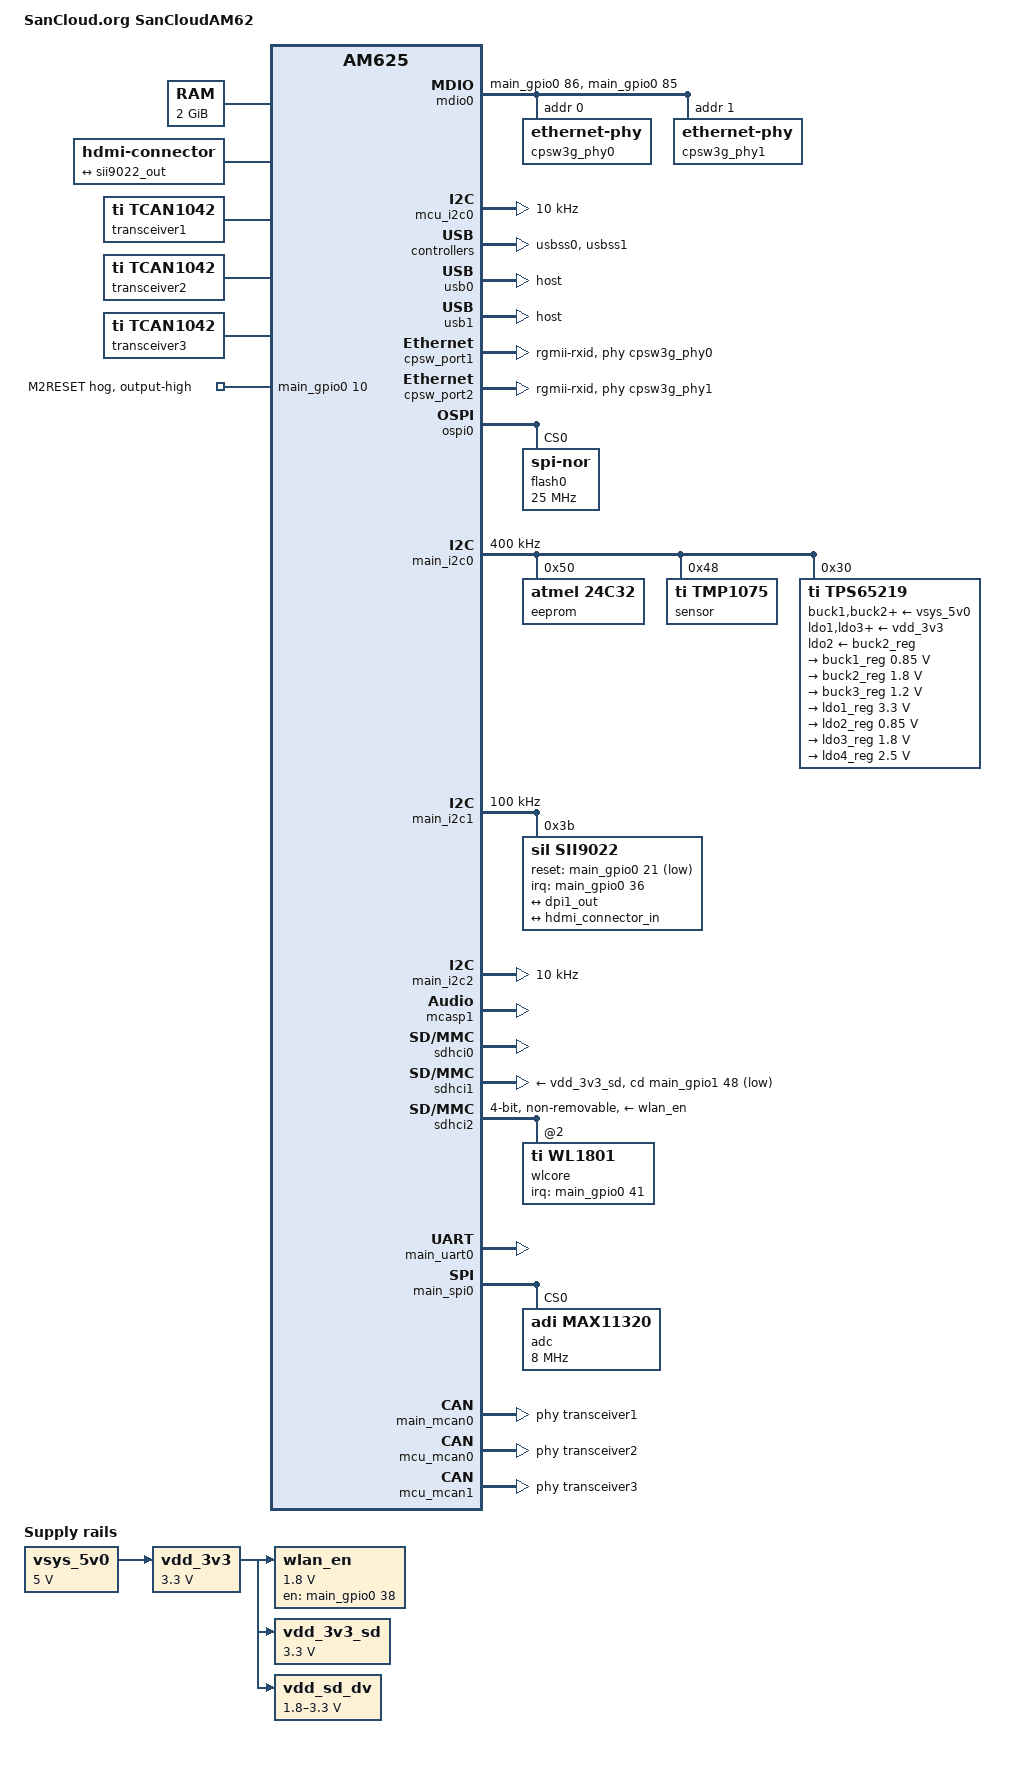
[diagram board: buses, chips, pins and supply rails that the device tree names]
// SPDX-License-Identifier: GPL-2.0
/*
 * https://beagleplay.org/
 *
 * Copyright (C) 2022-2023 Texas Instruments Incorporated - https://www.ti.com/
 * Copyright (C) 2022-2023 Robert Nelson, BeagleBoard.org Foundation
 */
 
/dts-v1/;
 
#include <dt-bindings/leds/common.h>
#include <dt-bindings/gpio/gpio.h>
#include <dt-bindings/input/input.h>
#include <dt-bindings/net/ti-dp83867.h>
#include "k3-am625.dtsi"
#include "k3-am625-sk-binman.dtsi"
 
/ {
    compatible = "sancloud,am625-sancloud", "ti,am625";
    model = "SanCloud.org SanCloudAM62";
 
    aliases {
        ethernet0 = &cpsw_port1;
        ethernet1 = &cpsw_port2;
        gpio0 = &main_gpio0;
        gpio1 = &main_gpio1;
        gpio2 = &mcu_gpio0;
        i2c0 = &main_i2c0;
        i2c1 = &main_i2c1;
        i2c2 = &main_i2c2;
        i2c3 = &main_i2c3;
        // i2c4 = &wkup_i2c0;
        // i2c5 = &mcu_i2c0;
        mdio-gpio0 = &mdio0;
        mmc0 = &sdhci0;
        mmc1 = &sdhci1;
        mmc2 = &sdhci2;
        rtc1 = &wkup_rtc0;
        serial0 = &wkup_uart0;
        serial1 = &mcu_uart0;
        serial2 = &main_uart0;
        serial3 = &main_uart5;
        serial4 = &main_uart6;
        spi0 = &ospi0;
        spi1 = &main_spi0;
        spi2 = &main_spi2;
        usb0 = &usb0;
        usb1 = &usb1;
    };
 
    chosen {
        stdout-path = "serial2:115200n8";
        base_dtb = "k3-am625-sancloud.dts";
        base_dtb_timestamp = __TIMESTAMP__;
    };
 
    memory@80000000 {
        bootph-pre-ram;
        device_type = "memory";
        /* 2G RAM */
        reg = <0x00000000 0x80000000 0x00000000 0x80000000>;
    };
 
    reserved-memory {
        #address-cells = <2>;
        #size-cells = <2>;
        ranges;
 
        rtos_ipc_memory_region: ipc-memories@9c800000 {
            compatible = "shared-dma-pool";
            reg = <0x00 0x9c800000 0x00 0x00300000>;
            no-map;
        };
 
        mcu_m4fss_dma_memory_region: m4f-dma-memory@9cb00000 {
            compatible = "shared-dma-pool";
            reg = <0x00 0x9cb00000 0x00 0x100000>;
            no-map;
        };
 
        mcu_m4fss_memory_region: m4f-memory@9cc00000 {
            compatible = "shared-dma-pool";
            reg = <0x00 0x9cc00000 0x00 0xe00000>;
            no-map;
        };
 
        wkup_r5fss0_core0_dma_memory_region: r5f-dma-memory@9da00000 {
            compatible = "shared-dma-pool";
            reg = <0x00 0x9da00000 0x00 0x00100000>;
            no-map;
        };
 
        wkup_r5fss0_core0_memory_region: r5f-memory@9db00000 {
            compatible = "shared-dma-pool";
            reg = <0x00 0x9db00000 0x00 0x00c00000>;
            no-map;
        };
 
        lpm_ctx_ddr: lpm-memory@9e700000 {
            reg = <0x00 0x9e700000 0x00 0x80000>;
            alignment = <0x1000>;
        };
 
        secure_tfa_ddr: tfa@9e780000 {
            reg = <0x00 0x9e780000 0x00 0x80000>;
            alignment = <0x1000>;
            no-map;
        };
 
        secure_ddr: optee@9e800000 {
            reg = <0x00 0x9e800000 0x00 0x01800000>; /* for OP-TEE */
            alignment = <0x1000>;
            no-map;
        };
    };
 
    vsys_5v0: regulator-1 {
        bootph-all;
        compatible = "regulator-fixed";
        regulator-name = "vsys_5v0";
        regulator-min-microvolt = <5000000>;
        regulator-max-microvolt = <5000000>;
        regulator-always-on;
        regulator-boot-on;
    };
 
    vdd_3v3: regulator-2 {
        /* output of TLV62595DMQR-U12 */
        bootph-all;
        compatible = "regulator-fixed";
        regulator-name = "vdd_3v3";
        regulator-min-microvolt = <3300000>;
        regulator-max-microvolt = <3300000>;
        vin-supply = <&vsys_5v0>;
        regulator-always-on;
        regulator-boot-on;
    };
 
    wlan_en: regulator-3 {
        /* OUTPUT of SN74AVC2T244DQMR */
        compatible = "regulator-fixed";
        regulator-name = "wlan_en";
        regulator-min-microvolt = <1800000>;
        regulator-max-microvolt = <1800000>;
        enable-active-high;
        regulator-always-on;
        /* regulator-off-in-suspend; */
        vin-supply = <&vdd_3v3>;
        gpio = <&main_gpio0 38 GPIO_ACTIVE_HIGH>;
        pinctrl-names = "default";
        pinctrl-0 = <&wifi_en_pins_default>;
    };
 
    vdd_3v3_sd: regulator-4 {
        bootph-all;
        compatible = "regulator-fixed";
        regulator-name = "vdd_3v3_sd";
        regulator-min-microvolt = <3300000>;
        regulator-max-microvolt = <3300000>;
        regulator-always-on;
        vin-supply = <&vdd_3v3>;
    };
 
    vdd_sd_dv: regulator-5 {
        bootph-all;
        compatible = "regulator-gpio";
        regulator-name = "sd_hs200_switch";
        pinctrl-names = "default";
        pinctrl-0 = <&vdd_sd_dv_pins_default>;
        regulator-min-microvolt = <1800000>;
        regulator-max-microvolt = <3300000>;
        regulator-boot-on;
        vin-supply = <&vdd_3v3>;
        gpios = <&main_gpio1 49 GPIO_ACTIVE_HIGH>;
        states = <1800000 0x0>,
             <3300000 0x1>;
    };
 
    hdmi: connector {
        compatible = "hdmi-connector";
        label = "hdmi";
        type = "a";
        port {
            hdmi_connector_in: endpoint {
                remote-endpoint = <&sii9022_out>;
            };
        };
    };
 
    mdio0: bitbang-mdio {
        compatible = "virtual,mdio-gpio";
        pinctrl-names = "default";
        pinctrl-0 = <&mdio0_pins_default>;
        gpios = <&main_gpio0 86 GPIO_ACTIVE_HIGH>, /* MDC */
            <&main_gpio0 85 GPIO_ACTIVE_HIGH>; /* MDIO */
        #address-cells = <1>;
        #size-cells = <0>;
 
        cpsw3g_phy0: ethernet-phy@0 {
            reg = <0>;
            ti,rx-internal-delay = <DP83867_RGMIIDCTL_2_00_NS>;
            ti,fifo-depth = <DP83867_PHYCR_FIFO_DEPTH_4_B_NIB>;
            ti,min-output-impedance;
        };
 
        cpsw3g_phy1: ethernet-phy@1 {
            reg = <1>;
            ti,rx-internal-delay = <DP83867_RGMIIDCTL_2_00_NS>;
            ti,fifo-depth = <DP83867_PHYCR_FIFO_DEPTH_4_B_NIB>;
            ti,min-output-impedance;
        };
    };
 
    hdmi_mstrclk: hdmi-mstrclk {
        compatible = "fixed-clock";
        #clock-cells = <0>;
        clock-frequency = <12288000>;
    };    
 
 
    transceiver1: can-phy0 {
        compatible = "ti,tcan1042";
        #phy-cells = <0>;
        max-bitrate = <5000000>;
    };
 
    transceiver2: can-phy1 {
        compatible = "ti,tcan1042";
        #phy-cells = <0>;
        max-bitrate = <5000000>;
    };
 
    transceiver3: can-phy2 {
        compatible = "ti,tcan1042";
        #phy-cells = <0>;
        max-bitrate = <5000000>;
    };
};
 
/*
 * CPU configuration
 * Disable core2 and core3 for dual core devices
 * Disable Real Time Interrupt for core2 and core3 also
 */
 
&cluster0 {
    /delete-node/ core2;
    /delete-node/ core3;
};
 
 
&main_rti2 {
    status = "disabled";
};
 
 
&main_rti3 {
    status = "disabled";
};
 
/*
 *
 */
 
&main_pmx0 {
    hdmi_pins_default: hdmi-pins-default {
        pinctrl-single,pins = <
            AM62X_IOPAD(0x0100, PIN_OUTPUT, 0) /* (AC25) VOUT0_VSYNC */
            AM62X_IOPAD(0x00f8, PIN_OUTPUT, 0) /* (AB24) VOUT0_HSYNC */
            AM62X_IOPAD(0x0104, PIN_OUTPUT, 0) /* (AC24) VOUT0_PCLK */
            AM62X_IOPAD(0x00fc, PIN_OUTPUT, 0) /* (Y20) VOUT0_DE */
            /* BLUE */
            AM62X_IOPAD(0x00b8, PIN_OUTPUT, 0) /* (U22) VOUT0_DATA0 */
            AM62X_IOPAD(0x00bc, PIN_OUTPUT, 0) /* (V24) VOUT0_DATA1 */
            AM62X_IOPAD(0x00c0, PIN_OUTPUT, 0) /* (W25) VOUT0_DATA2 */
            AM62X_IOPAD(0x00c4, PIN_OUTPUT, 0) /* (W24) VOUT0_DATA3 */
            AM62X_IOPAD(0x00c8, PIN_OUTPUT, 0) /* (Y25) VOUT0_DATA4 */
            AM62X_IOPAD(0x00cc, PIN_OUTPUT, 0) /* (Y24) VOUT0_DATA5 */
            AM62X_IOPAD(0x00d0, PIN_OUTPUT, 0) /* (Y23) VOUT0_DATA6 */
            AM62X_IOPAD(0x00d4, PIN_OUTPUT, 0) /* (AA25) VOUT0_DATA7 */
            /* GREEN */
            AM62X_IOPAD(0x00d8, PIN_OUTPUT, 0) /* (V21) VOUT0_DATA8 */
            AM62X_IOPAD(0x00dc, PIN_OUTPUT, 0) /* (W21) VOUT0_DATA9 */
            AM62X_IOPAD(0x00e0, PIN_OUTPUT, 0) /* (V20) VOUT0_DATA10 */
            AM62X_IOPAD(0x00e4, PIN_OUTPUT, 0) /* (AA23) VOUT0_DATA11 */
            AM62X_IOPAD(0x00e8, PIN_OUTPUT, 0) /* (AB25) VOUT0_DATA12 */
            AM62X_IOPAD(0x00ec, PIN_OUTPUT, 0) /* (AA24) VOUT0_DATA13 */
            AM62X_IOPAD(0x00f0, PIN_OUTPUT, 0) /* (Y22) VOUT0_DATA14 */
            AM62X_IOPAD(0x00f4, PIN_OUTPUT, 0) /* (AA21) VOUT0_DATA15 */
            /*RED*/
            AM62X_IOPAD(0x005c, PIN_OUTPUT, 1) /* (R24) GPMC0_AD8.VOUT0_DATA16 */
            AM62X_IOPAD(0x0060, PIN_OUTPUT, 1) /* (R25) GPMC0_AD9.VOUT0_DATA17 */
            AM62X_IOPAD(0x0064, PIN_OUTPUT, 1) /* (T25) GPMC0_AD10.VOUT0_DATA18 */
            AM62X_IOPAD(0x0068, PIN_OUTPUT, 1) /* (R21) GPMC0_AD11.VOUT0_DATA19 */
            AM62X_IOPAD(0x006c, PIN_OUTPUT, 1) /* (T22) GPMC0_AD12.VOUT0_DATA20 */
            AM62X_IOPAD(0x0070, PIN_OUTPUT, 1) /* (T24) GPMC0_AD13.VOUT0_DATA21 */
            AM62X_IOPAD(0x0074, PIN_OUTPUT, 1) /* (U25) GPMC0_AD14.VOUT0_DATA22 */
            AM62X_IOPAD(0x0078, PIN_OUTPUT, 1) /* (U24) GPMC0_AD15.VOUT0_DATA23 */
        >;
    };
 
    main_mcasp1_pins_default: main-mcasp1-pins-default {
        pinctrl-single,pins = <
            AM62X_IOPAD(0x0090, PIN_INPUT, 2) /* (M24) GPMC0_BE0N_CLE.MCASP1_ACLKX */
            AM62X_IOPAD(0x0098, PIN_INPUT, 2) /* (U23) GPMC0_WAIT0.MCASP1_AFSX */
            AM62X_IOPAD(0x008c, PIN_OUTPUT, 2) /* (L25) GPMC0_WEN.MCASP1_AXR0 */
            AM62X_IOPAD(0x0084, PIN_INPUT, 2) /* (L23) GPMC0_ADVN_ALE.MCASP1_AXR2 */
        >;
    };
 
    gpio0_pins_default: gpio0-pins-default {
        pinctrl-single,pins = <
            AM62X_IOPAD(0x001c, PIN_OUTPUT, 7) /* (J23) OSPI0_D4.GPIO0_7 */
            AM62X_IOPAD(0x0020, PIN_OUTPUT, 7) /* (J25) OSPI0_D5.GPIO0_8 */
            AM62X_IOPAD(0x0024, PIN_OUTPUT, 7) /* (H25) OSPI0_D7.GPIO0_9 */
            AM62X_IOPAD(0x0028, PIN_OUTPUT, 7) /* (J22) OSPI0_D7.GPIO0_10 */
            AM62X_IOPAD(0x0054, PIN_OUTPUT, 7) /* (P21) GPMC0_AD6.GPIO0_21 */ /* HDMI_RSTn */
            AM62X_IOPAD(0x0094, PIN_INPUT, 7) /* (N20) GPMC0_BE1n.GPIO0_36 */ /* HDMI_IRQ */
        >;
    };
 
    gpio1_pins_default: gpio1-pins-default {
        pinctrl-single,pins = <
            AM62X_IOPAD(0x1a0, PIN_OUTPUT_PULLDOWN, 7)  /* (E18) MCASP0_AXR0.GPIO1_10*/
            AM62X_IOPAD(0x19c, PIN_OUTPUT_PULLDOWN, 7)  /* (B18) MCASP0_AXR1.GPIO1_9*/
            AM62X_IOPAD(0x1a8, PIN_OUTPUT_PULLDOWN, 7)  /* (D20) MCASP0_AFSX.GPIO1_12*/
        >;
    };
 
    vdd_sd_dv_pins_default: vdd-sd-pins-default {
        pinctrl-single,pins = <
            AM62X_IOPAD(0x0244, PIN_OUTPUT, 7) /* (C17) MMC1_SDWP.GPIO1_49 */
        >;
    };
 
    local_i2c0_pins_default: local-i2c0-pins-default {
        pinctrl-single,pins = <
            AM62X_IOPAD(0x01e0, PIN_INPUT_PULLUP, 0) /* (B16) I2C0_SCL */
            AM62X_IOPAD(0x01e4, PIN_INPUT_PULLUP, 0) /* (A16) I2C0_SDA */
        >;
    };
 
    local_i2c1_pins_default: local-i2c1-pins-default {
        pinctrl-single,pins = <
            AM62X_IOPAD(0x01e8, PIN_INPUT_PULLUP, 0) /* (B17) I2C1_SCL */
            AM62X_IOPAD(0x01ec, PIN_INPUT_PULLUP, 0) /* (A17) I2C1_SDA */
        >;
    };
 
    local_i2c2_pins_default: local-i2c2-pins-default {
        pinctrl-single,pins = <
            AM62X_IOPAD(0x00b0, PIN_INPUT_PULLUP, 1) /* (K22) GPMC0_CSn2.I2C2_SCL */
            AM62X_IOPAD(0x00b4, PIN_INPUT_PULLUP, 1) /* (K24) GPMC0_CSn3.I2C2_SDA */
        >;
    };
 
    mdio0_pins_default: mdio0-pins-default {
        pinctrl-single,pins = <
            AM62X_IOPAD(0x0160, PIN_OUTPUT, 7) /* (AD24) MDIO0_MDC.GPIO0_86 */
            AM62X_IOPAD(0x015c, PIN_INPUT, 7) /* (AB22) MDIO0_MDIO.GPIO0_85 */
        >;
    };
 
    rgmii1_pins_default: rgmii1-pins-default {
        pinctrl-single,pins = <
            AM62X_IOPAD(0x014c, PIN_INPUT, 0) /* (AB17) RGMII1_RD0 */
            AM62X_IOPAD(0x0150, PIN_INPUT, 0) /* (AC17) RGMII1_RD1 */
            AM62X_IOPAD(0x0154, PIN_INPUT, 0) /* (AB16) RGMII1_RD2 */
            AM62X_IOPAD(0x0158, PIN_INPUT, 0) /* (AA15) RGMII1_RD3 */
            AM62X_IOPAD(0x0148, PIN_INPUT, 0) /* (AD17) RGMII1_RXC */
            AM62X_IOPAD(0x0144, PIN_INPUT, 0) /* (AE17) RGMII1_RX_CTL */
            AM62X_IOPAD(0x0134, PIN_OUTPUT, 0) /* (AE20) RGMII1_TD0 */
            AM62X_IOPAD(0x0138, PIN_OUTPUT, 0) /* (AD20) RGMII1_TD1 */
            AM62X_IOPAD(0x013c, PIN_OUTPUT, 0) /* (AE18) RGMII1_TD2 */
            AM62X_IOPAD(0x0140, PIN_OUTPUT, 0) /* (AD18) RGMII1_TD3 */
            AM62X_IOPAD(0x0130, PIN_OUTPUT, 0) /* (AE19) RGMII1_TXC */
            AM62X_IOPAD(0x012c, PIN_OUTPUT, 0) /* (AD19) RGMII1_TX_CTL */
            AM62X_IOPAD(0x00a4, PIN_OUTPUT, 7) /* (M22) GPMC0_DIR.GPIO0_40 */
            AM62X_IOPAD(0x00ac, PIN_INPUT_PULLUP, 7) /* (L21) GPMC0_CSn1.GPIO0_42 */
 
        >;
    };
 
    rgmii2_pins_default: rgmii2-pins-default {
        pinctrl-single,pins = <
            AM62X_IOPAD(0x184, PIN_INPUT, 0) /* (AE23) RGMII2_RD0 */
            AM62X_IOPAD(0x188, PIN_INPUT, 0) /* (AB20) RGMII2_RD1 */
            AM62X_IOPAD(0x18c, PIN_INPUT, 0) /* (AC21) RGMII2_RD2 */
            AM62X_IOPAD(0x190, PIN_INPUT, 0) /* (AE22) RGMII2_RD3 */
            AM62X_IOPAD(0x180, PIN_INPUT, 0) /* (AD23) RGMII2_RXC */
            AM62X_IOPAD(0x17c, PIN_INPUT, 0) /* (AD22) RGMII2_RX_CTL */
            AM62X_IOPAD(0x16c, PIN_OUTPUT, 0) /* (Y18) RGMII2_TD0 */
            AM62X_IOPAD(0x170, PIN_OUTPUT, 0) /* (AA18) RGMII2_TD1 */
            AM62X_IOPAD(0x174, PIN_OUTPUT, 0) /* (AD21) RGMII2_TD2 */
            AM62X_IOPAD(0x178, PIN_OUTPUT, 0) /* (AC20) RGMII2_TD3 */
            AM62X_IOPAD(0x168, PIN_OUTPUT, 0) /* (AE21) RGMII2_TXC */
            AM62X_IOPAD(0x164, PIN_OUTPUT, 0) /* (AA19) RGMII2_TX_CTL */
            AM62X_IOPAD(0x00a0, PIN_OUTPUT, 7) /* (K25) GPMC0_DIR.GPIO0_39 */
            AM62X_IOPAD(0x01b8, PIN_INPUT_PULLUP, 7) /* (C13) SPI0_CS1.GPIO1_16 */
        >;
    };
 
    ospi0_pins_default: ospi0-pins-default {
        pinctrl-single,pins = <
            AM62X_IOPAD(0x000, PIN_OUTPUT, 0) /* (H24) OSPI0_CLK */
            AM62X_IOPAD(0x02c, PIN_OUTPUT, 0) /* (F23) OSPI0_CSn0 */
            AM62X_IOPAD(0x00c, PIN_INPUT, 0) /* (E25) OSPI0_D0 */
            AM62X_IOPAD(0x010, PIN_INPUT, 0) /* (G24) OSPI0_D1 */
            AM62X_IOPAD(0x014, PIN_INPUT, 0) /* (F25) OSPI0_D2 */
            AM62X_IOPAD(0x018, PIN_INPUT, 0) /* (F24) OSPI0_D3 */
           
            // AM62X_IOPAD(0x01c, PIN_INPUT, 0) /* (J23) OSPI0_D4 */
            // AM62X_IOPAD(0x020, PIN_INPUT, 0) /* (J25) OSPI0_D5 */
            // AM62X_IOPAD(0x024, PIN_INPUT, 0) /* (H25) OSPI0_D6 */
            // AM62X_IOPAD(0x028, PIN_INPUT, 0) /* (J22) OSPI0_D7 */
            // AM62X_IOPAD(0x008, PIN_INPUT, 0) /* (J24) OSPI0_DQS */          
        >;
    };
 
    spi_gpio_default_pins: spi-gpio-pins {
        pinctrl-single,pins = <
            AM62X_IOPAD(0x000, PIN_OUTPUT, 7) /* (H24) OSPI0_CLK */
            AM62X_IOPAD(0x02c, PIN_OUTPUT, 7) /* (F23) OSPI0_CSn0 */
            AM62X_IOPAD(0x00c, PIN_OUTPUT, 7) /* (E25) OSPI0_D0 MOSI*/
            AM62X_IOPAD(0x010, PIN_INPUT, 7) /* (G24) OSPI0_D1 MISO*/
        >;
    };
 
    emmc_pins_default: emmc-pins-default {
        pinctrl-single,pins = <
            AM62X_IOPAD(0x0220, PIN_INPUT, 0) /* (Y3) MMC0_CMD */
            AM62X_IOPAD(0x0218, PIN_INPUT, 0) /* (AB1) MMC0_CLK */
            AM62X_IOPAD(0x0214, PIN_INPUT, 0) /* (AA2) MMC0_DAT0 */
            AM62X_IOPAD(0x0210, PIN_INPUT, 0) /* (AA1) MMC0_DAT1 */
            AM62X_IOPAD(0x020c, PIN_INPUT, 0) /* (AA3) MMC0_DAT2 */
            AM62X_IOPAD(0x0208, PIN_INPUT, 0) /* (Y4) MMC0_DAT3 */
            AM62X_IOPAD(0x0204, PIN_INPUT, 0) /* (AB2) MMC0_DAT4 */
            AM62X_IOPAD(0x0200, PIN_INPUT, 0) /* (AC1) MMC0_DAT5 */
            AM62X_IOPAD(0x01fc, PIN_INPUT, 0) /* (AD2) MMC0_DAT6 */
            AM62X_IOPAD(0x01f8, PIN_INPUT, 0) /* (AC2) MMC0_DAT7 */
        >;
    };
 
    // vdd_3v3_sd_pins_default: vdd-3v3-sd-pins-default {
    //  pinctrl-single,pins = <
    //      AM62X_IOPAD(0x01c4, PIN_INPUT, 7) /* (B14) SPI0_D1_GPIO1_19 */
    //  >;
    // };
 
    sd_pins_default: sd-pins-default {
        pinctrl-single,pins = <
            AM62X_IOPAD(0x023c, PIN_INPUT, 0) /* (A21) MMC1_CMD */
            AM62X_IOPAD(0x0234, PIN_INPUT, 0) /* (B22) MMC1_CLK */
            AM62X_IOPAD(0x0230, PIN_INPUT, 0) /* (A22) MMC1_DAT0 */
            AM62X_IOPAD(0x022c, PIN_INPUT, 0) /* (B21) MMC1_DAT1 */
            AM62X_IOPAD(0x0228, PIN_INPUT, 0) /* (C21) MMC1_DAT2 */
            AM62X_IOPAD(0x0224, PIN_INPUT, 0) /* (D22) MMC1_DAT3 */
            AM62X_IOPAD(0x0240, PIN_INPUT, 7) /* (D17) MMC1_SDCD.GPIO1_48 */
        >;
    };
 
    wifi_pins_default: wifi-pins-default {
        pinctrl-single,pins = <
            AM62X_IOPAD(0x0120, PIN_INPUT, 0) /* (C24) MMC2_CMD */
            AM62X_IOPAD(0x0118, PIN_INPUT, 0) /* (D25) MMC2_CLK */
            AM62X_IOPAD(0x0114, PIN_INPUT, 0) /* (B24) MMC2_DAT0 */
            AM62X_IOPAD(0x0110, PIN_INPUT, 0) /* (C25) MMC2_DAT1 */
            AM62X_IOPAD(0x010c, PIN_INPUT, 0) /* (E23) MMC2_DAT2 */
            AM62X_IOPAD(0x0108, PIN_INPUT, 0) /* (D24) MMC2_DAT3 */
            //AM62X_IOPAD(0x0124, PIN_INPUT, 0) /* (A23) MMC2_SDCD */
            //AM62X_IOPAD(0x11c, PIN_INPUT, 0) /* (#N/A) MMC2_CLKB */
        >;
    };
 
    wifi_en_pins_default: wifi-en-pins-default {
        pinctrl-single,pins = <
            AM62X_IOPAD(0x009c, PIN_OUTPUT, 7) /* (V25) GPMC0_WAIT1.GPIO0_38 */
        >;
    };
 
    wifi_wlirq_pins_default: wifi-wlirq-pins-default {
        pinctrl-single,pins = <
            AM62X_IOPAD(0x00a8, PIN_INPUT, 7) /* (M21) GPMC0_CSn0.GPIO0_41 */
        >;
    };
 
    console_pins_default: console-pins-default {
        pinctrl-single,pins = <
            AM62X_IOPAD(0x01c8, PIN_INPUT, 0) /* (D14) UART0_RXD */
            AM62X_IOPAD(0x01cc, PIN_OUTPUT, 0) /* (E14) UART0_TXD */
        >;
    };
 
    usb0_pins_default: usb0-pins-default {
        pinctrl-single,pins = <
            AM62X_IOPAD(0x0254, PIN_INPUT, 0) /* (C20) USB0_DRVVBUS */
        >;
    };
 
    usb1_pins_default: usb1-pins-default {
        pinctrl-single,pins = <
            AM62X_IOPAD(0x0258, PIN_INPUT, 0) /* (F18) USB1_DRVVBUS */
        >;
    };
 
    pmic_irq_pins_default: pmic-irq-pins-default {
        pinctrl-single,pins = <
            AM62X_IOPAD(0x01f4, PIN_INPUT_PULLUP, 0) /* (D16) EXTINTn */
        >;
    };
 
 
    main_mcan0_pins_default: main-mcan0-pins-default {
        pinctrl-single,pins = <
            AM62X_IOPAD(0x1dc, PIN_INPUT, 0) /* (E15) MCAN0_RX */
            AM62X_IOPAD(0x1d8, PIN_OUTPUT, 0) /* (C15) MCAN0_TX */
        >;
    };
 
    main_spi0_pins_default: main-spi0-pins-default {
        pinctrl-single,pins = <
            AM62X_IOPAD(0x01bc, PIN_INPUT_PULLUP, 0) /* (A14) SPI0_CLK */
            AM62X_IOPAD(0x01c0, PIN_INPUT_PULLUP, 0) /* (B13) SPI0_D0 */
            AM62X_IOPAD(0x01c4, PIN_INPUT_PULLUP, 0) /* (B14) SPI0_D1 */
            AM62X_IOPAD(0x01b4, PIN_INPUT_PULLUP, 0) /* (A13) SPI0_CS0 */
        >;
    };
 
};
 
&mcu_pmx0 {
    i2c_qwiic_pins_default: i2c-qwiic-pins-default {
        pinctrl-single,pins = <
            AM62X_MCU_IOPAD(0x0044, PIN_INPUT, 0) /* (A8) MCU_I2C0_SCL */
            AM62X_MCU_IOPAD(0x0048, PIN_INPUT, 0) /* (D10) MCU_I2C0_SDA */
        >;
    };
 
    adc_spi_pins_default: adc-spi-pins-default {
        pinctrl-single,pins = <
            // AM62X_MCU_IOPAD(0x0040, PIN_INPUT, 4) /* (D4) MCU_MCAN1_RX.MCU_SPI1_CLK */
            /* PINMUX TOOL WARNS FOR INVALID IOSET for CS1.. */
            // AM62X_MCU_IOPAD(0x003c, PIN_INPUT, 3) /* (E5) MCU_MCAN1_TX.MCU_SPI1_CS1 */
            AM62X_MCU_IOPAD(0x001c, PIN_INPUT, 3) /* (A6) MCU_UART0_CTSn.MCU_SPI1_D0 */
            AM62X_MCU_IOPAD(0x0020, PIN_INPUT, 3) /* (B6) MCU_UART0_RTSn.MCU_SPI1_D1 */
        >;
    };
 
    gbe_pmx_obsclk: gbe-pmx-clk-default {
        pinctrl-single,pins = <
            /* 25MHz on MCU_OBSCLK0 -unmodified board has strap option to be changed to enable this */
            AM62X_MCU_IOPAD(0x0004, PIN_OUTPUT, 1) /* (B8) MCU_SPI0_CS1.MCU_OBSCLK0 */
        >;
    };
 
    i2c_csi_pins_default: i2c-csi-pins-default {
        pinctrl-single,pins = <
            AM62X_MCU_IOPAD(0x004c, PIN_INPUT_PULLUP, 0) /* (B9) WKUP_I2C0_SCL */
            AM62X_MCU_IOPAD(0x0050, PIN_INPUT_PULLUP, 0) /* (A9) WKUP_I2C0_SDA */
        >;
    };
 
    wifi_32k_clk: mcu-clk-out-pins-default {
        pinctrl-single,pins = <
            /* A12 comes out on Strap option to route to wifi 32k */
            AM62X_MCU_IOPAD(0x0084, PIN_OUTPUT, 0) /* (A12) WKUP_CLKOUT0 */
        >;
    };
 
    mcu_mcan0_pins_default: mcu-mcan0-pins-default {
        pinctrl-single,pins = <
            AM62X_MCU_IOPAD(0x038, PIN_INPUT, 0) /* (B3) MCU_MCAN0_RX */
            AM62X_MCU_IOPAD(0x034, PIN_OUTPUT, 0) /* (D6) MCU_MCAN0_TX */
        >;
    };
 
    mcu_mcan1_pins_default: mcu-mcan1-pins-default {
        pinctrl-single,pins = <
            AM62X_MCU_IOPAD(0x040, PIN_INPUT, 0) /* (D4) MCU_MCAN1_RX */
            AM62X_MCU_IOPAD(0x03C, PIN_OUTPUT, 0) /* (E5) MCU_MCAN1_TX */
        >;
    };
};
 
&a53_opp_table {
    /* Requires VDD_CORE to be at 0.85V */
    opp-1400000000 {
        opp-hz = /bits/ 64 <1400000000>;
        opp-supported-hw = <0x01 0x0004>;
    };
};
 
/* cbass_main */
/* cbass_wkup */
 
&wkup_i2c0 {
    pinctrl-names = "default";
    pinctrl-0 = <&i2c_csi_pins_default>;
    /* Bump Up to 400KHz if module allows - 100KHz default */
    clock-frequency = <10000>;
    /* Enable with overlay for camera sensor */
    symlink = "play/csi/i2c";
    status = "disabled";
};
 
&mcu_i2c0 {
    pinctrl-names = "default";
    pinctrl-0 = <&i2c_qwiic_pins_default>;
    /* Bump Up to 400 if desired */
    clock-frequency = <10000>;
    symlink = "play/qwiic/i2c";
};
 
&mcu_spi0 {
    status = "disabled";
};
 
&mcu_spi1 {
    status = "disabled";
};
 
&mcu_rti0 {
      /* Tightly coupled to M4F */
      status = "disabled";
};  
 
//&mcu_m4fss {
//    mboxes = <&mailbox0_cluster0 &mbox_m4_0>;
//    memory-region = <&mcu_m4fss_dma_memory_region>,
//            <&mcu_m4fss_memory_region>;
//};
 
// &fss {
//  status = "disabled";
// };
 
// &crypto {
//  status = "disabled";
// };
 
&mailbox0_cluster0 {
    mbox_m4_0: mbox-m4-0 {
        ti,mbox-rx = <0 0 0>;
        ti,mbox-tx = <1 0 0>;
    };
};
 
&usbss0 {
    ti,vbus-divider;
    status = "okay";
};
 
&usb0 {
    dr_mode = "host";
    pinctrl-names = "default";
    pinctrl-0 = <&usb0_pins_default>;
};
 
&usbss1 {
    ti,vbus-divider;
    status = "okay";
};
 
&usb1 {
    dr_mode = "host";
    pinctrl-names = "default";
    pinctrl-0 = <&usb1_pins_default>;
};
 
&cpsw3g {
    pinctrl-names = "default";
    pinctrl-0 = <&rgmii1_pins_default>, <&rgmii2_pins_default>;
    assigned-clocks = <&k3_clks 157 70>, <&k3_clks 157 20>;
    assigned-clock-parents = <&k3_clks 157 72>, <&k3_clks 157 22>;
};
 
&cpsw_port1 {
    status = "okay";
    phy-mode = "rgmii-rxid";
    phy-handle = <&cpsw3g_phy0>;
};
 
&cpsw_port2 {
    status = "okay";
    phy-mode = "rgmii-rxid";
    phy-handle = <&cpsw3g_phy1>;
};
 
&cpsw3g_mdio {
    /* Workaround for errata i2329 - Use mdio bitbang */
    status = "disabled";
};
 
&ospi0{
    compatible = "ti,am654-ospi", "cdns,qspi-nor";
    #address-cells = <1>;
    #size-cells = <0>;
    status = "okay";
    flash0: spi@0 {
        compatible = "jedec,spi-nor";
        reg = <0>;                       // Chip Select 0
        spi-max-frequency = <25000000>;  // Adjust based on your flash
        spi-rx-bus-width = <4>;          // QuadSPI (4-bit)
        spi-tx-bus-width = <4>;          // QuadSPI (4-bit)
        spi-cpol;                        // Clock polarity
        spi-cpha;                        // Clock phase
        cdns,tshsl-ns = <60>;
        cdns,tsd2d-ns = <60>;
        cdns,tchsh-ns = <60>;
        cdns,tslch-ns = <60>;
        cdns,read-delay = <4>;
        cdns,phy-mode;
    };
};
 
&main_gpio0 {
    pinctrl-names = "default";
    pinctrl-0 = <&gpio0_pins_default>;
    gpio-line-names = "", "", "", "", "", "", "", "",   /* 0-7 */
        "", "", "M2RESET", "", "", "", "",          /* 8-14 */
        "", "", "", "", "", "", "",     /* 15-21 */
        "", "", /* 22-23 */
        "", "", /* 24-25 */
        "", "", "", "", "", "", "", "", "", "", "", "", /* 26-37 */
        "", "", "", "", "", "", "", "", "", "",     /* 38-47 */
        "", "", "", "";         /* 48-51 */
 
    m2_reset {
        gpio-hog;
        gpios = <10 GPIO_ACTIVE_HIGH>;
        output-high;
        line-name = "M2RESET";
    };
 
};
 
&main_gpio1 {
    pinctrl-names = "default";
    pinctrl-0 = <&gpio1_pins_default>;
    gpio-line-names = "", "", "", "", "", "", "", "",   /* 0-7 */
        "", "USR1", "USR0", "", "USR2", "", "",         /* 8-14 */
        "", "", "", "", "", "", "",     /* 15-21 */
        "", "", /* 22-23 */
        "", "", /* 24-25 */
        "", "", "", "", "", "", "", "", "", "", "", "", /* 26-37 */
        "", "", "", "", "", "", "", "", "", "",     /* 38-47 */
        "", "", "", "";         /* 48-51 */
};
 
&mcu_gpio0 {
    gpio-line-names = "", "", "", "",           /* 0-3 */
        "", "", "", "",                 /* 4-7 */
        "", "", "", "",                 /* 8-11 */
        "", "", "", "",                 /* 12-15 */
        "", "", "", "", /* 16-19 */
        "", "", "", "";                 /* 20-23 */
};
 
&main_i2c0 {
    bootph-all;
    pinctrl-names = "default";
    pinctrl-0 = <&local_i2c0_pins_default>;
    clock-frequency = <400000>;
    status = "okay";
 
    eeprom@50 {
        compatible = "atmel,24c32";
        reg = <0x50>;
    };
 
    sensor@48 {
        compatible = "ti,tmp1075";
        reg = <0x48>;
    };
 
    tps65219: pmic@30 {
        bootph-all;
        compatible = "ti,tps65219";
        reg = <0x30>;
        buck1-supply = <&vsys_5v0>;
        buck2-supply = <&vsys_5v0>;
        buck3-supply = <&vsys_5v0>;
        ldo1-supply = <&vdd_3v3>;
        ldo2-supply = <&buck2_reg>;
        ldo3-supply = <&vdd_3v3>;
        ldo4-supply = <&vdd_3v3>;
 
        pinctrl-names = "default";
        pinctrl-0 = <&pmic_irq_pins_default>;
        interrupt-parent = <&gic500>;
        interrupts = <GIC_SPI 224 IRQ_TYPE_LEVEL_HIGH>;
        interrupt-controller;
        #interrupt-cells = <2>;
 
        system-power-controller;
        wakeup-source;
        power-button;
 
        regulators {
            buck1_reg: buck1 {
                regulator-name = "VDD_CORE";
                regulator-min-microvolt = <850000>;
                regulator-max-microvolt = <850000>;
                regulator-boot-on;
                regulator-always-on;
            };
 
            buck2_reg: buck2 {
                regulator-name = "VDD_1V8";
                regulator-min-microvolt = <1800000>;
                regulator-max-microvolt = <1800000>;
                regulator-boot-on;
                regulator-always-on;
            };
 
            buck3_reg: buck3 {
                regulator-name = "VDD_1V2";
                regulator-min-microvolt = <1200000>;
                regulator-max-microvolt = <1200000>;
                regulator-boot-on;
                regulator-always-on;
            };
 
            ldo1_reg: ldo1 {
                /*
                 * Regulator is left as is unused, vdd_sd
                 * is controlled via GPIO with bypass config
                 * as per the NVM configuration
                 */
                regulator-name = "VDD_SD_3V3";
                regulator-min-microvolt = <3300000>;
                regulator-max-microvolt = <3300000>;
                regulator-allow-bypass;
                regulator-boot-on;
                regulator-always-on;
            };
 
            ldo2_reg: ldo2 {
                regulator-name = "VDDA_0V85";
                regulator-min-microvolt = <850000>;
                regulator-max-microvolt = <850000>;
                regulator-boot-on;
                regulator-always-on;
            };
 
            ldo3_reg: ldo3 {
                regulator-name = "VDDA_1V8";
                regulator-min-microvolt = <1800000>;
                regulator-max-microvolt = <1800000>;
                regulator-boot-on;
                regulator-always-on;
            };
 
            ldo4_reg: ldo4 {
                regulator-name = "VDD_2V5";
                regulator-min-microvolt = <2500000>;
                regulator-max-microvolt = <2500000>;
                regulator-boot-on;
                regulator-always-on;
            };
        };
    };
};
 
 
 
 
&main_i2c1 {
    pinctrl-names = "default";
    pinctrl-0 = <&local_i2c1_pins_default>;
    clock-frequency = <100000>;
    status = "okay";
 
    sii9022: sii9022@3b {
        #sound-dai-cells = <0>;
        compatible = "sil,sii9022";
        reset-gpios = <&main_gpio0 21 GPIO_ACTIVE_LOW>;
        reg = <0x3b>;
        clocks = <&hdmi_mstrclk>;
        clock-names = "mclk";
 
        interrupt-parent = <&main_gpio0>;
        interrupts = <36 IRQ_TYPE_EDGE_FALLING>;
 
        sil,i2s-data-lanes = < 0 >;
 
        ports {
            #address-cells = <1>;
            #size-cells = <0>;
 
            port@0 {
                reg = <0>;
 
                sii9022_in: endpoint {
                    remote-endpoint = <&dpi1_out>;
                };
            };
 
            port@1 {
                reg = <1>;
 
                sii9022_out: endpoint {
                    remote-endpoint = <&hdmi_connector_in>;
                };
            };
        };
    };
 
};
 
&main_i2c2 {
    pinctrl-names = "default";
    pinctrl-0 = <&local_i2c2_pins_default>;
    clock-frequency = <10000>;
    status = "okay";
};
 
 
 
&mcasp0 {
    status = "disabled";
};
 
&mcasp1 {
    status = "okay";
    #sound-dai-cells = <0>;
 
    pinctrl-names = "default";
    pinctrl-0 = <&main_mcasp1_pins_default>;
 
    op-mode = <0>;          /* MCASP_IIS_MODE */
    tdm-slots = <2>;
 
    serial-dir = <  /* 0: INACTIVE, 1: TX, 2: RX */
           1 0 2 0
           0 0 0 0
           0 0 0 0
           0 0 0 0
    >;
    tx-num-evt = <32>;
    rx-num-evt = <32>;
};
 
&mcasp2 {
    status = "disabled";
};
 
&dss {
    pinctrl-names = "default";
    pinctrl-0 = <&hdmi_pins_default>;
};
 
&dss_ports {
    #address-cells = <1>;
    #size-cells = <0>;
 
    /* VP2: DPI Output */
    port@1 {
        reg = <1>;
 
        dpi1_out: endpoint {
            remote-endpoint = <&sii9022_in>;
        };
    };
};
 
&sdhci0 {
    // bootph-all;
    pinctrl-names = "default";
    pinctrl-0 = <&emmc_pins_default>;
    ti,driver-strength-ohm = <50>;
    disable-wp;
    status = "okay";
};
 
&sdhci1 {
    /* SD/MMC */
    bootph-all;
    pinctrl-names = "default";
    pinctrl-0 = <&sd_pins_default>;
 
    vmmc-supply = <&vdd_3v3_sd>;
    vqmmc-supply = <&vdd_sd_dv>;
    ti,driver-strength-ohm = <50>;
    disable-wp;
    cd-gpios = <&main_gpio1 48 GPIO_ACTIVE_LOW>;
    cd-debounce-delay-ms = <100>;
    ti,fails-without-test-cd;
    status = "okay";
};
 
&sdhci2 {
    vmmc-supply = <&wlan_en>;
    pinctrl-names = "default";
    pinctrl-0 = <&wifi_pins_default>, <&wifi_32k_clk>;
    bus-width = <4>;
    non-removable;
    ti,fails-without-test-cd;
    cap-power-off-card;
    keep-power-in-suspend;
    ti,driver-strength-ohm = <50>;
    assigned-clocks = <&k3_clks 157 158>;
    assigned-clock-parents = <&k3_clks 157 160>;
    #address-cells = <1>;
    #size-cells = <0>;
    status = "okay";
 
    wlcore: wlcore@2 {
        compatible = "ti,wl1801";
        reg = <2>;
        pinctrl-names = "default";
        pinctrl-0 = <&wifi_wlirq_pins_default>;
        interrupt-parent = <&main_gpio0>;
        interrupts = <41 IRQ_TYPE_EDGE_FALLING>;
    };
};
 
&epwm0 {
    status = "disabled";
};
 
&epwm1 {
    status = "disabled";
};
 
&epwm2 {
    status = "disabled";
};
 
&main_uart0 {
    bootph-all;
    pinctrl-names = "default";
    pinctrl-0 = <&console_pins_default>;
    status = "okay";
};
 
&main_uart1 {
    /* Main UART1 is used by TIFS firmware */
    status = "reserved";
};
 
&main_uart2 {
    status = "disabled";
};
 
&main_uart3 {
    status = "disabled";
};
 
&main_uart4 {
    status = "disabled";
};
 
&main_uart5 {
    status = "disabled";
};
 
&main_uart6 {
    status = "disabled";
};
 
&main_spi0 {
    status = "okay";
    pinctrl-names = "default";
    pinctrl-0 = <&main_spi0_pins_default>;
    #address-cells = <1>;
    #size-cells= <0>;
    ti,spi-num-cs = <1>;
    cs-gpios = <0>;
 
        /* add any spi devices connected here */
        adc@0 {
            compatible = "adi,max11320";
            spi-max-frequency = <8000000>;
            reg = <0>;
 
            #address-cells = <1>;
            #size-cells = <0>;
 
            spi-cpha;
            spi-cpol;
 
            channel_group_name = "Voltage_ADC";
 
            channel@7 {
                reg = <0>;
                adi,reference = <3>;
                adi,input-mode = <0>;                  
            };
 
            channel@6 {
                reg = <1>;
                adi,reference = <3>;
                adi,input-mode = <0>;                  
            };
 
            channel@5 {
                reg = <2>;
                adi,reference = <3>;
                adi,input-mode = <0>;                  
            };
 
            channel@4 {
                reg = <3>;
                adi,reference = <3>;
                adi,input-mode = <0>;                  
            };
 
            channel@3 {
                reg = <4>;
                adi,reference = <3>;
                adi,input-mode = <0>;                  
            };
 
            channel@2 {
                reg = <5>;
                adi,reference = <3>;
                adi,input-mode = <0>;                  
            };
 
            channel@1 {
                reg = <6>;
                adi,reference = <3>;
                adi,input-mode = <0>;                  
            };
 
            channel@0 {
                reg = <7>;
                adi,reference = <3>;
                adi,input-mode = <0>;                  
            };
        };
 
};
 
&main_spi1 {
    status = "disabled";
};
 
&dphy0 {
       status = "disabled";
};
 
&ti_csi2rx0 {
      status = "disabled";
};
 
&main_mcan0 {
    status = "okay";
    pinctrl-names = "default";
    pinctrl-0 = <&main_mcan0_pins_default>;
    phys = <&transceiver1>;
};
 
&mcu_mcan0 {
    status = "okay";
    pinctrl-names = "default";
    pinctrl-0 = <&mcu_mcan0_pins_default>;
    phys = <&transceiver2>;
};
 
&mcu_mcan1 {
    status = "okay";
    pinctrl-names = "default";
    pinctrl-0 = <&mcu_mcan1_pins_default>;
    phys = <&transceiver3>;
};

